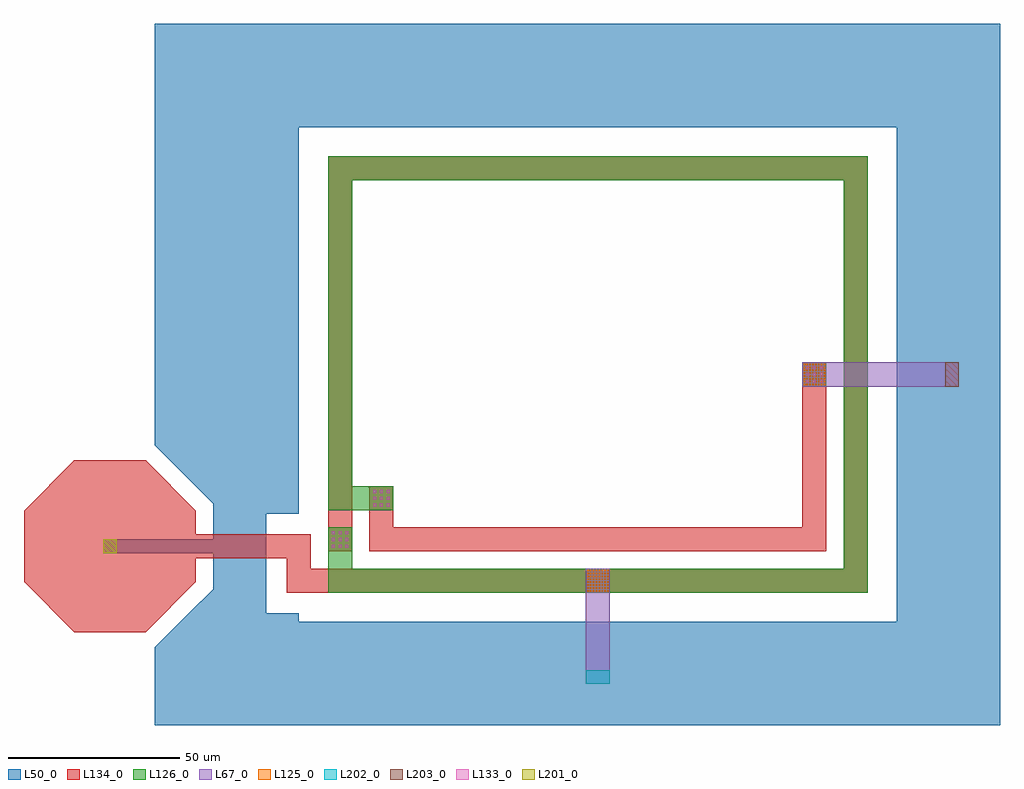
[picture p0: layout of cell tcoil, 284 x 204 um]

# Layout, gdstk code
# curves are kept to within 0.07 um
import gdstk
lib = gdstk.Library(unit=1e-6, precision=1e-09)
def R(c, l, rs):  # rectangles x0, y0, x1, y1
    for r in rs: c.add(gdstk.rectangle(r[:2], r[2:], *l))
def A(c, l, x, y, w, h, nx, ny, dx, dy):  # array of equal rectangles
    R(c, l, [(x+i*dx, y+j*dy, x+i*dx+w, y+j*dy+h) for i in range(nx) for j in range(ny)])
def P(c, l, *ps):  # polygons
    for p in ps: c.add(gdstk.Polygon(p, *l))
L50_0 = (50, 0)
L67_0 = (67, 0)
L125_0 = (125, 0)
L126_0 = (126, 0)
L133_0 = (133, 0)
L134_0 = (134, 0)
L201_0 = (201, 0)
L202_0 = (202, 0)
L203_0 = (203, 0)

tcoil = lib.new_cell('tcoil')
R(tcoil, L50_0, [(-69,8,-32,12)])
P(tcoil, L50_0, [(-54,-42),(192,-42),(192,162),(-54,162),(-54,39.426),(-37,22.426),(-37,-2.426),(-44.074,-9.5),(-21.5,-9.5),(-21.5,19.5),(-12,19.5),(-12,132),(162,132),(162,-12),(-12,-12),(-12,-9.5),(-44.074,-9.5),(-54,-19.426)],
  [(-54,-42),(192,-42),(192,162),(-54,162),(-54,39.426),(-37,22.426),(-37,12),(-69,12),(-69,8),(-37,8),(-37,-2.426),(-44.074,-9.5),(-21.5,-9.5),(-21.5,19.5),(-12,19.5),(-12,132),(162,132),(162,-12),(-12,-12),(-12,-9.5),(-44.074,-9.5),(-54,-19.426)])
R(tcoil, L67_0, [(71.5,-30,78.5,3.5), (71.5,-30,78.5,3.5), (71.5,-3.5,78.5,3.5), (134.5,56.5,141.5,63.5), (134.5,56.5,180,63.5), (134.5,56.5,180,63.5)])
R(tcoil, L125_0, [(71.85,-3.15,72.27,-2.73), (71.85,-3.15,72.27,-2.73), (72.69,-3.15,73.11,-2.73), (72.69,-3.15,73.11,-2.73), (73.53,-3.15,73.95,-2.73), (73.53,-3.15,73.95,-2.73), (74.37,-3.15,74.79,-2.73), (74.37,-3.15,74.79,-2.73), (75.21,-3.15,75.63,-2.73), (75.21,-3.15,75.63,-2.73), (76.05,-3.15,76.47,-2.73), (76.05,-3.15,76.47,-2.73), (76.89,-3.15,77.31,-2.73), (76.89,-3.15,77.31,-2.73), (77.73,-3.15,78.15,-2.73), (77.73,-3.15,78.15,-2.73), (71.85,-2.31,72.27,-1.89), (71.85,-2.31,72.27,-1.89), (72.69,-2.31,73.11,-1.89), (72.69,-2.31,73.11,-1.89), (73.53,-2.31,73.95,-1.89), (73.53,-2.31,73.95,-1.89), (74.37,-2.31,74.79,-1.89), (74.37,-2.31,74.79,-1.89), (75.21,-2.31,75.63,-1.89), (75.21,-2.31,75.63,-1.89), (76.05,-2.31,76.47,-1.89), (76.05,-2.31,76.47,-1.89), (76.89,-2.31,77.31,-1.89), (76.89,-2.31,77.31,-1.89), (77.73,-2.31,78.15,-1.89), (77.73,-2.31,78.15,-1.89), (71.85,-1.47,72.27,-1.05), (71.85,-1.47,72.27,-1.05), (72.69,-1.47,73.11,-1.05), (72.69,-1.47,73.11,-1.05), (73.53,-1.47,73.95,-1.05), (73.53,-1.47,73.95,-1.05), (74.37,-1.47,74.79,-1.05), (74.37,-1.47,74.79,-1.05), (75.21,-1.47,75.63,-1.05), (75.21,-1.47,75.63,-1.05), (76.05,-1.47,76.47,-1.05), (76.05,-1.47,76.47,-1.05), (76.89,-1.47,77.31,-1.05), (76.89,-1.47,77.31,-1.05), (77.73,-1.47,78.15,-1.05), (77.73,-1.47,78.15,-1.05), (71.85,-0.63,72.27,-0.21), (71.85,-0.63,72.27,-0.21), (72.69,-0.63,73.11,-0.21), (72.69,-0.63,73.11,-0.21), (73.53,-0.63,73.95,-0.21), (73.53,-0.63,73.95,-0.21), (74.37,-0.63,74.79,-0.21), (74.37,-0.63,74.79,-0.21), (75.21,-0.63,75.63,-0.21), (75.21,-0.63,75.63,-0.21), (76.05,-0.63,76.47,-0.21), (76.05,-0.63,76.47,-0.21), (76.89,-0.63,77.31,-0.21), (76.89,-0.63,77.31,-0.21), (77.73,-0.63,78.15,-0.21), (77.73,-0.63,78.15,-0.21), (71.85,0.21,72.27,0.63), (71.85,0.21,72.27,0.63), (72.69,0.21,73.11,0.63), (72.69,0.21,73.11,0.63), (73.53,0.21,73.95,0.63), (73.53,0.21,73.95,0.63), (74.37,0.21,74.79,0.63), (74.37,0.21,74.79,0.63), (75.21,0.21,75.63,0.63), (75.21,0.21,75.63,0.63), (76.05,0.21,76.47,0.63), (76.05,0.21,76.47,0.63), (76.89,0.21,77.31,0.63), (76.89,0.21,77.31,0.63), (77.73,0.21,78.15,0.63), (77.73,0.21,78.15,0.63), (71.85,1.05,72.27,1.47), (71.85,1.05,72.27,1.47), (72.69,1.05,73.11,1.47), (72.69,1.05,73.11,1.47), (73.53,1.05,73.95,1.47), (73.53,1.05,73.95,1.47), (74.37,1.05,74.79,1.47), (74.37,1.05,74.79,1.47), (75.21,1.05,75.63,1.47), (75.21,1.05,75.63,1.47), (76.05,1.05,76.47,1.47), (76.05,1.05,76.47,1.47), (76.89,1.05,77.31,1.47), (76.89,1.05,77.31,1.47), (77.73,1.05,78.15,1.47), (77.73,1.05,78.15,1.47), (71.85,1.89,72.27,2.31), (71.85,1.89,72.27,2.31), (72.69,1.89,73.11,2.31), (72.69,1.89,73.11,2.31), (73.53,1.89,73.95,2.31), (73.53,1.89,73.95,2.31), (74.37,1.89,74.79,2.31), (74.37,1.89,74.79,2.31), (75.21,1.89,75.63,2.31), (75.21,1.89,75.63,2.31), (76.05,1.89,76.47,2.31), (76.05,1.89,76.47,2.31), (76.89,1.89,77.31,2.31), (76.89,1.89,77.31,2.31), (77.73,1.89,78.15,2.31), (77.73,1.89,78.15,2.31), (71.85,2.73,72.27,3.15), (71.85,2.73,72.27,3.15), (72.69,2.73,73.11,3.15), (72.69,2.73,73.11,3.15), (73.53,2.73,73.95,3.15), (73.53,2.73,73.95,3.15), (74.37,2.73,74.79,3.15), (74.37,2.73,74.79,3.15), (75.21,2.73,75.63,3.15), (75.21,2.73,75.63,3.15), (76.05,2.73,76.47,3.15), (76.05,2.73,76.47,3.15), (76.89,2.73,77.31,3.15), (76.89,2.73,77.31,3.15), (77.73,2.73,78.15,3.15), (77.73,2.73,78.15,3.15), (134.85,56.85,135.27,57.27), (134.85,56.85,135.27,57.27), (135.69,56.85,136.11,57.27), (135.69,56.85,136.11,57.27), (136.53,56.85,136.95,57.27), (136.53,56.85,136.95,57.27), (137.37,56.85,137.79,57.27), (137.37,56.85,137.79,57.27), (138.21,56.85,138.63,57.27), (138.21,56.85,138.63,57.27), (139.05,56.85,139.47,57.27), (139.05,56.85,139.47,57.27), (139.89,56.85,140.31,57.27), (139.89,56.85,140.31,57.27), (140.73,56.85,141.15,57.27), (140.73,56.85,141.15,57.27), (134.85,57.69,135.27,58.11), (134.85,57.69,135.27,58.11), (135.69,57.69,136.11,58.11), (135.69,57.69,136.11,58.11), (136.53,57.69,136.95,58.11), (136.53,57.69,136.95,58.11), (137.37,57.69,137.79,58.11), (137.37,57.69,137.79,58.11), (138.21,57.69,138.63,58.11), (138.21,57.69,138.63,58.11), (139.05,57.69,139.47,58.11), (139.05,57.69,139.47,58.11), (139.89,57.69,140.31,58.11), (139.89,57.69,140.31,58.11), (140.73,57.69,141.15,58.11), (140.73,57.69,141.15,58.11), (134.85,58.53,135.27,58.95), (134.85,58.53,135.27,58.95), (135.69,58.53,136.11,58.95), (135.69,58.53,136.11,58.95), (136.53,58.53,136.95,58.95), (136.53,58.53,136.95,58.95), (137.37,58.53,137.79,58.95), (137.37,58.53,137.79,58.95), (138.21,58.53,138.63,58.95), (138.21,58.53,138.63,58.95), (139.05,58.53,139.47,58.95), (139.05,58.53,139.47,58.95), (139.89,58.53,140.31,58.95), (139.89,58.53,140.31,58.95), (140.73,58.53,141.15,58.95), (140.73,58.53,141.15,58.95), (134.85,59.37,135.27,59.79), (134.85,59.37,135.27,59.79), (135.69,59.37,136.11,59.79), (135.69,59.37,136.11,59.79), (136.53,59.37,136.95,59.79), (136.53,59.37,136.95,59.79), (137.37,59.37,137.79,59.79), (137.37,59.37,137.79,59.79), (138.21,59.37,138.63,59.79), (138.21,59.37,138.63,59.79), (139.05,59.37,139.47,59.79), (139.05,59.37,139.47,59.79), (139.89,59.37,140.31,59.79), (139.89,59.37,140.31,59.79), (140.73,59.37,141.15,59.79), (140.73,59.37,141.15,59.79), (134.85,60.21,135.27,60.63), (134.85,60.21,135.27,60.63), (135.69,60.21,136.11,60.63), (135.69,60.21,136.11,60.63), (136.53,60.21,136.95,60.63), (136.53,60.21,136.95,60.63), (137.37,60.21,137.79,60.63), (137.37,60.21,137.79,60.63), (138.21,60.21,138.63,60.63), (138.21,60.21,138.63,60.63), (139.05,60.21,139.47,60.63), (139.05,60.21,139.47,60.63), (139.89,60.21,140.31,60.63), (139.89,60.21,140.31,60.63), (140.73,60.21,141.15,60.63), (140.73,60.21,141.15,60.63), (134.85,61.05,135.27,61.47), (134.85,61.05,135.27,61.47), (135.69,61.05,136.11,61.47), (135.69,61.05,136.11,61.47), (136.53,61.05,136.95,61.47), (136.53,61.05,136.95,61.47), (137.37,61.05,137.79,61.47), (137.37,61.05,137.79,61.47), (138.21,61.05,138.63,61.47), (138.21,61.05,138.63,61.47), (139.05,61.05,139.47,61.47), (139.05,61.05,139.47,61.47), (139.89,61.05,140.31,61.47), (139.89,61.05,140.31,61.47), (140.73,61.05,141.15,61.47), (140.73,61.05,141.15,61.47), (134.85,61.89,135.27,62.31), (134.85,61.89,135.27,62.31), (135.69,61.89,136.11,62.31), (135.69,61.89,136.11,62.31), (136.53,61.89,136.95,62.31), (136.53,61.89,136.95,62.31), (137.37,61.89,137.79,62.31), (137.37,61.89,137.79,62.31), (138.21,61.89,138.63,62.31), (138.21,61.89,138.63,62.31), (139.05,61.89,139.47,62.31), (139.05,61.89,139.47,62.31), (139.89,61.89,140.31,62.31), (139.89,61.89,140.31,62.31), (140.73,61.89,141.15,62.31), (140.73,61.89,141.15,62.31), (134.85,62.73,135.27,63.15), (134.85,62.73,135.27,63.15), (135.69,62.73,136.11,63.15), (135.69,62.73,136.11,63.15), (136.53,62.73,136.95,63.15), (136.53,62.73,136.95,63.15), (137.37,62.73,137.79,63.15), (137.37,62.73,137.79,63.15), (138.21,62.73,138.63,63.15), (138.21,62.73,138.63,63.15), (139.05,62.73,139.47,63.15), (139.05,62.73,139.47,63.15), (139.89,62.73,140.31,63.15), (139.89,62.73,140.31,63.15), (140.73,62.73,141.15,63.15), (140.73,62.73,141.15,63.15)])
R(tcoil, L126_0, [(146.5,-3.5,153.5,123.5), (134.5,56.5,141.5,63.5), (134.5,56.5,141.5,63.5), (-3.5,116.5,153.5,123.5)])
P(tcoil, L126_0, [(-3.5,123.5),(-3.5,20.5),(15.5,20.5),(15.5,27.5),(3.5,27.5),(3.5,116.5),(146.5,116.5),(146.5,3.5),(3.5,3.5),(3.5,15.5),(-3.5,15.5),(-3.5,-3.5),(153.5,-3.5),(153.5,123.5)],
  [(3.5,15.5),(-3.5,15.5),(-3.5,-3.5),(153.5,-3.5),(153.5,3.5),(3.5,3.5)],
  [(3.5,123.5),(-3.5,123.5),(-3.5,20.5),(15.5,20.5),(15.5,27.5),(3.5,27.5)])
A(tcoil, L133_0, -2.41, 9.59, 0.9, 0.9, 3, 3, 1.96, 1.96)
A(tcoil, L133_0, 9.59, 21.59, 0.9, 0.9, 3, 3, 1.96, 1.96)
A(tcoil, L133_0, 135.59, 57.59, 0.9, 0.9, 3, 3, 1.96, 1.96)
R(tcoil, L134_0, [(146.5,-3.5,153.5,123.5), (-3.5,8.5,3.5,123.5), (134.5,8.5,141.5,63.5), (-3.5,116.5,153.5,123.5)])
P(tcoil, L134_0, [(-42,20.355),(-56.645,35),(-77.355,35),(-92,20.355),(-92,-0.355),(-77.355,-15),(-56.645,-15),(-42,-0.355)],
  [(-3.5,123.5),(-3.5,8.5),(3.5,8.5),(3.5,116.5),(146.5,116.5),(146.5,3.5),(-8.5,3.5),(-8.5,13.5),(-42,13.5),(-42,20.355),(-56.645,35),(-77.355,35),(-92,20.355),(-92,-0.355),(-77.355,-15),(-56.645,-15),(-42,-0.355),(-42,6.5),(-15.5,6.5),(-15.5,-3.5),(153.5,-3.5),(153.5,123.5)],
  [(134.5,63.5),(134.5,15.5),(15.5,15.5),(15.5,27.5),(8.5,27.5),(8.5,8.5),(141.5,8.5),(141.5,63.5)],
  [(-42,13.5),(-42,6.5),(-15.5,6.5),(-15.5,-3.5),(0,-3.5),(0,3.5),(-8.5,3.5),(-8.5,13.5)],
  [(3.5,3.5),(-3.5,3.5),(-3.5,-3.5),(153.5,-3.5),(153.5,3.5),(3.5,3.5)],
  [(15.5,27.5),(8.5,27.5),(8.5,8.5),(141.5,8.5),(141.5,15.5),(15.5,15.5)])
R(tcoil, L201_0, [(-69,8,-65,12)])
R(tcoil, L202_0, [(71.5,-30,78.5,-26)])
R(tcoil, L203_0, [(176,56.5,180,63.5)])

lib.write_gds('tcoil.gds')
